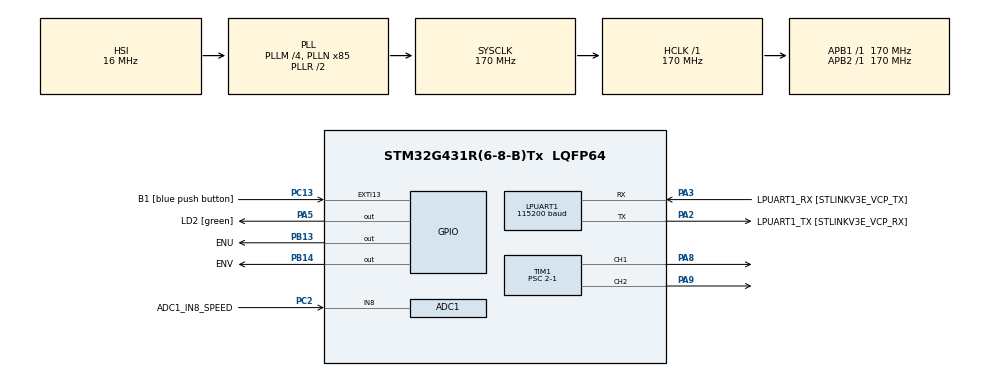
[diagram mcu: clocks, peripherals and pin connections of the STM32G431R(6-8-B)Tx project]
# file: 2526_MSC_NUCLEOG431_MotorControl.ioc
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ADC1.Channel-0\#ChannelRegularConversion=ADC_CHANNEL_8
ADC1.NbrOfConversionFlag=1
ADC1.OffsetNumber-0\#ChannelRegularConversion=ADC_OFFSET_NONE
ADC1.Rank-0\#ChannelRegularConversion=1
ADC1.SamplingTime-0\#ChannelRegularConversion=ADC_SAMPLETIME_2CYCLES_5
ADC1.master=1
LPUART1.BaudRate=115200
Mcu.Family=STM32G4
Mcu.Name=STM32G431R(6-8-B)Tx
Mcu.Package=LQFP64
NVIC.PriorityGroup=NVIC_PRIORITYGROUP_4
PA2.GPIO_Label=LPUART1_TX [STLINKV3E_VCP_RX]
PA2.Mode=Asynchronous
PA2.Signal=LPUART1_TX
PA3.GPIO_Label=LPUART1_RX [STLINKV3E_VCP_TX]
PA3.Mode=Asynchronous
PA3.Signal=LPUART1_RX
PA5.GPIO_Label=LD2 [green]
PA5.Signal=GPIO_Output
PA8.Signal=S_TIM1_CH1
PA9.Signal=S_TIM1_CH2
PB13.GPIO_Label=ENU
PB13.Signal=GPIO_Output
PB14.GPIO_Label=ENV
PB14.Signal=GPIO_Output
PC13.GPIO_Label=B1 [blue push button]
PC13.Signal=GPXTI13
PC14-OSC32_IN.GPIO_Label=RCC_OSC32_OUT
PC14-OSC32_IN.Signal=RCC_OSC32_IN
PC15-OSC32_OUT.GPIO_Label=RCC_OSC32_OUT
PC15-OSC32_OUT.Signal=RCC_OSC32_OUT
PC2.GPIO_Label=ADC1_IN8_SPEED
PC2.Mode=IN8-Single-Ended
PC2.Signal=ADC1_IN8
PF0-OSC_IN.GPIO_Label=RCC_OSC_IN
PF0-OSC_IN.Signal=RCC_OSC_IN
PF1-OSC_OUT.GPIO_Label=RCC_OSC_OUT
PF1-OSC_OUT.Signal=RCC_OSC_OUT
ProjectManager.HeapSize=0x200
ProjectManager.StackSize=0x400
ProjectManager.TargetToolchain=STM32CubeIDE
RCC.ADC12Freq_Value=170000000
RCC.AHBFreq_Value=170000000
RCC.APB1Freq_Value=170000000
RCC.APB1TimFreq_Value=170000000
RCC.APB2Freq_Value=170000000
RCC.APB2TimFreq_Value=170000000
RCC.CortexFreq_Value=170000000
RCC.EXTERNAL_CLOCK_VALUE=12288000
RCC.HCLKFreq_Value=170000000
RCC.HSE_VALUE=24000000
RCC.HSI48_VALUE=48000000
RCC.HSI_VALUE=16000000
RCC.LSE_VALUE=32768
RCC.PLLM=RCC_PLLM_DIV4
RCC.PLLN=85
RCC.RTCClockSelection=RCC_RTCCLKSOURCE_LSE
RCC.SYSCLKFreq_VALUE=170000000
RCC.SYSCLKSource=RCC_SYSCLKSOURCE_PLLCLK
RCC.USBFreq_Value=170000000
RCC.VCOOutputFreq_Value=340000000
SH.S_TIM1_CH1.0=TIM1_CH1,PWM Generation1 CH1
SH.S_TIM1_CH2.0=TIM1_CH2,PWM Generation2 CH2
TIM1.AutoReloadPreload=TIM_AUTORELOAD_PRELOAD_ENABLE
TIM1.Channel-PWM\ Generation1\ CH1=TIM_CHANNEL_1
TIM1.Channel-PWM\ Generation2\ CH2=TIM_CHANNEL_2
TIM1.CounterMode=TIM_COUNTERMODE_CENTERALIGNED1
TIM1.PeriodNoDither=4096-1
TIM1.Prescaler=2-1
TIM1.PulseNoDither_1=2048-1
TIM1.PulseNoDither_2=2048-1
VP_SYS_VS_DBSignals.Mode=DisableDeadBatterySignals
VP_TIM1_VS_ClockSourceINT.Mode=Internal
board=NUCLEO-G431RB

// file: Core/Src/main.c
/* USER CODE BEGIN Header */
/**
  ******************************************************************************
  * @file           : main.c
  * @brief          : Main program body
  ******************************************************************************
  * @attention
  *
  * Copyright (c) 2025 STMicroelectronics.
  * All rights reserved.
  *
  * This software is licensed under terms that can be found in the LICENSE file
  * in the root directory of this software component.
  * If no LICENSE file comes with this software, it is provided AS-IS.
  *
  ******************************************************************************
  */
/* USER CODE END Header */
#include "main.h"
#include "adc.h"
#include "usart.h"
#include "tim.h"
#include "gpio.h"

/* USER CODE BEGIN Includes */
int __io_putchar(int ch) {
      HAL_UART_Transmit(&hlpuart1, (uint8_t*) &ch, 1, 0xFFFF);
      return ch;
}
/* USER CODE END Includes */

void SystemClock_Config(void);

int main(void)
{

  /* USER CODE BEGIN 1 */
	int inc = 1;
	int speed = 2048;
  /* USER CODE END 1 */

  /* MCU Configuration--------------------------------------------------------*/

  /* Reset of all peripherals, Initializes the Flash interface and the Systick. */
  HAL_Init();

  /* Configure the system clock */
  SystemClock_Config();

  /* Initialize all configured peripherals */
  MX_GPIO_Init();
  MX_ADC1_Init();
  MX_LPUART1_UART_Init();
  MX_TIM1_Init();
  /* USER CODE BEGIN 2 */
  HAL_TIM_PWM_Start(&htim1, TIM_CHANNEL_1);
  HAL_TIM_PWM_Start(&htim1, TIM_CHANNEL_2);
  HAL_GPIO_WritePin(ENU_GPIO_Port, ENU_Pin, SET);
  HAL_GPIO_WritePin(ENV_GPIO_Port, ENV_Pin, SET);
  __HAL_TIM_SET_COMPARE(&htim1, TIM_CHANNEL_1, 2048);
  __HAL_TIM_SET_COMPARE(&htim1, TIM_CHANNEL_2, 2048);
  /* USER CODE END 2 */

  /* Infinite loop */
  /* USER CODE BEGIN WHILE */
  while (1)
  {
	  if(speed > 4095){
		  inc = -1;
	  }
	  if(speed == 0) inc = 1;
	  speed += inc;
	  __HAL_TIM_SET_COMPARE(&htim1, TIM_CHANNEL_1, speed);
	  __HAL_TIM_SET_COMPARE(&htim1, TIM_CHANNEL_1, 4096-speed);
	  printf("Speed %d\r\n", speed);
	  HAL_Delay(1);

    /* USER CODE END WHILE */

  }
}

void SystemClock_Config(void)
{
  RCC_OscInitTypeDef RCC_OscInitStruct = {0};
  RCC_ClkInitTypeDef RCC_ClkInitStruct = {0};

  /** Configure the main internal regulator output voltage
  */
  HAL_PWREx_ControlVoltageScaling(PWR_REGULATOR_VOLTAGE_SCALE1_BOOST);

  /** Initializes the RCC Oscillators according to the specified parameters
  * in the RCC_OscInitTypeDef structure.
  */
  RCC_OscInitStruct.OscillatorType = RCC_OSCILLATORTYPE_HSI;
  RCC_OscInitStruct.HSIState = RCC_HSI_ON;
  RCC_OscInitStruct.HSICalibrationValue = RCC_HSICALIBRATION_DEFAULT;
  RCC_OscInitStruct.PLL.PLLState = RCC_PLL_ON;
  RCC_OscInitStruct.PLL.PLLSource = RCC_PLLSOURCE_HSI;
  RCC_OscInitStruct.PLL.PLLM = RCC_PLLM_DIV4;
  RCC_OscInitStruct.PLL.PLLN = 85;
  RCC_OscInitStruct.PLL.PLLP = RCC_PLLP_DIV2;
  RCC_OscInitStruct.PLL.PLLQ = RCC_PLLQ_DIV2;
  RCC_OscInitStruct.PLL.PLLR = RCC_PLLR_DIV2;
  if (HAL_RCC_OscConfig(&RCC_OscInitStruct) != HAL_OK)
  {
    Error_Handler();
  }

  /** Initializes the CPU, AHB and APB buses clocks
  */
  RCC_ClkInitStruct.ClockType = RCC_CLOCKTYPE_HCLK|RCC_CLOCKTYPE_SYSCLK
                              |RCC_CLOCKTYPE_PCLK1|RCC_CLOCKTYPE_PCLK2;
  RCC_ClkInitStruct.SYSCLKSource = RCC_SYSCLKSOURCE_PLLCLK;
  RCC_ClkInitStruct.AHBCLKDivider = RCC_SYSCLK_DIV1;
  RCC_ClkInitStruct.APB1CLKDivider = RCC_HCLK_DIV1;
  RCC_ClkInitStruct.APB2CLKDivider = RCC_HCLK_DIV1;

  if (HAL_RCC_ClockConfig(&RCC_ClkInitStruct, FLASH_LATENCY_4) != HAL_OK)
  {
    Error_Handler();
  }
}

void Error_Handler(void)
{
  __disable_irq();
  while (1)
  {
  }
}
